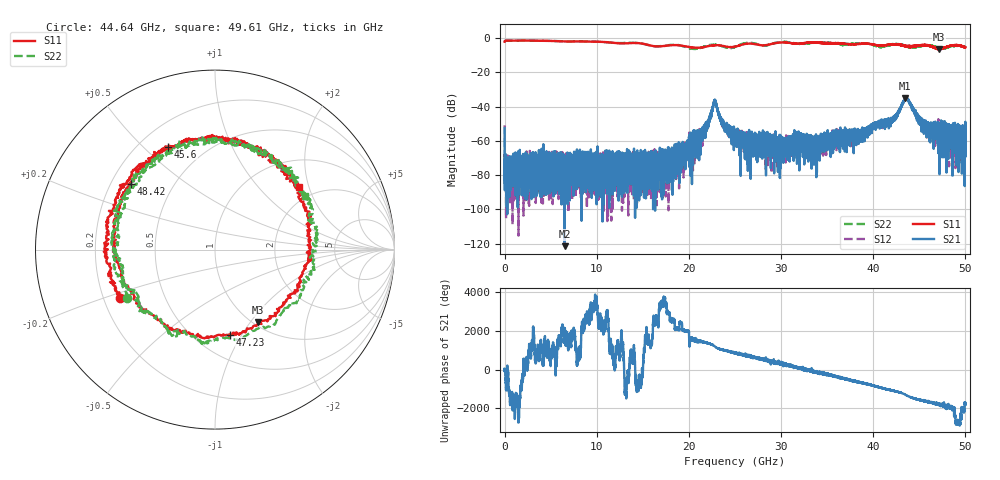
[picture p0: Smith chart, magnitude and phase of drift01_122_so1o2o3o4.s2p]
!Created with skrf (http://scikit-rf.org).
# Hz S RI R 50.0
!freq ReS11 ImS11 ReS21 ImS21 ReS12 ImS12 ReS22 ImS22
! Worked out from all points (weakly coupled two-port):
!   10001 points, 300 kHz to 50 GHz, reference 50 ohm
!   highest |S21| = -34.86 dB at 43.48 GHz (marker M1); lowest = -121.5 dB at 6.52 GHz (marker M2)
!   lowest |S11| = -6.6 dB at 47.1 GHz (marker M3), VSWR 2.77, Z = 52.2 - j54.3 ohm
!   |S11| at or under -10 dB: nowhere
!   |S22| runs from -6.4 to -1.4 dB; largest |S21 - S12| = 0.0036
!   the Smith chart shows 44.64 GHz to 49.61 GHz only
!   S11 on the Smith chart (normalised r, x): 44.64 GHz: 0.27, -0.22; 45.6 GHz: 0.31, +0.60; 47.23 GHz: 0.72, -0.89; 48.42 GHz: 0.28, +0.32; 49.61 GHz: 1.62, +1.72
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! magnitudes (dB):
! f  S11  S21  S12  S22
! 300 kHz  -2.1  -52.7  -50.8  -2.1
! 285.3 MHz  -1.4  -72.7  -77.2  -1.4
! 6.52 GHz  -1.9  -121.5  -82.7  -1.9
! 8.335 GHz  -1.9  -77.3  -76.9  -1.8
! 16.67 GHz  -4.8  -71.5  -75.1  -4.8
! 21 GHz  -5.6  -55.1  -63.1  -6.1
! 21.7 GHz  -5.1  -55.7  -52.5  -4.9
! 22.8 GHz  -4.3  -36.3  -36.4  -4.0
! 23.76 GHz  -4.6  -50.5  -49.1  -5.0
! 25 GHz  -5.0  -55.3  -57.2  -5.1
! 29.66 GHz  -2.7  -65.1  -63.2  -2.5
! 31.98 GHz  -3.2  -57.5  -57.5  -3.3
! 33.34 GHz  -2.6  -66.0  -60.2  -2.7
! 41.67 GHz  -3.9  -46.7  -49.5  -4.0
! 43.48 GHz  -4.6  -34.9  -35.2  -4.5
! 44.64 GHz  -4.5  -44.6  -44.9  -5.1
! 45.6 GHz  -4.0  -52.0  -50.7  -4.3
! 47.1 GHz  -6.6  -59.3  -52.3  -5.5
! 47.23 GHz  -6.3  -56.2  -53.5  -5.7
! 48.42 GHz  -4.5  -63.6  -62.3  -4.7
! 49.61 GHz  -4.7  -68.3  -51.9  -4.7
! 50 GHz  -5.3  -59.8  -59.2  -5.3
